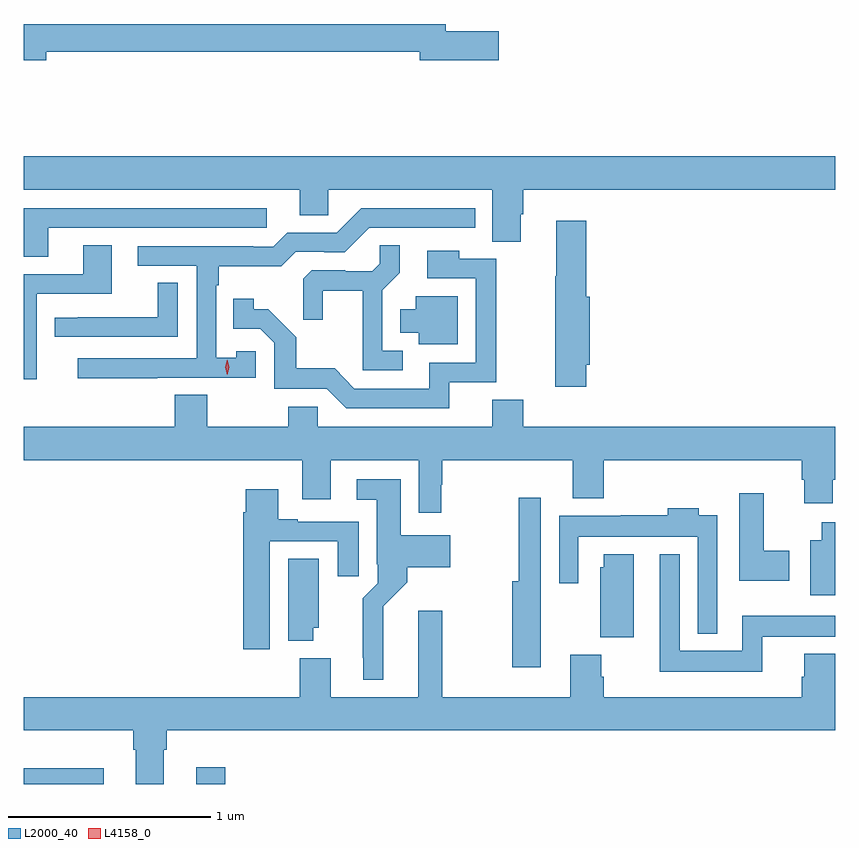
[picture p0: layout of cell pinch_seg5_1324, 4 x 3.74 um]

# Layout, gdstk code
import gdstk
lib = gdstk.Library(unit=1e-6, precision=1e-09)
def R(c, l, rs):  # rectangles x0, y0, x1, y1
    for r in rs: c.add(gdstk.rectangle(r[:2], r[2:], *l))
def P(c, l, *ps):  # polygons
    for p in ps: c.add(gdstk.Polygon(p, *l))
L2000_40 = (2000, 40)
L4158_0 = (4158, 0)

pinch_seg5_1324 = lib.new_cell('pinch_seg5_1324')
R(pinch_seg5_1324, L2000_40, [(290.597,892.46,290.992,892.538), (291.449,892.46,291.592,892.543)])
P(pinch_seg5_1324, L2000_40, [(290.71,896.068),(292.55,896.068),(292.55,896.026),(292.939,896.026),(292.939,896.168),(292.678,896.168),(292.678,896.204),(290.597,896.204),(290.597,896.026),(290.71,896.026)],
  [(293.047,895.266),(293.06,895.266),(293.06,895.388),(294.597,895.388),(294.597,895.552),(290.597,895.552),(290.597,895.388),(291.959,895.388),(291.959,895.261),(292.098,895.261),(292.098,895.388),(292.907,895.388),(292.907,895.132),(293.047,895.132)],
  [(290.719,895.2),(291.796,895.2),(291.796,895.296),(290.597,895.296),(290.597,895.057),(290.719,895.057)],
  [(291.257,894.462),(291.741,894.462),(291.741,894.591),(291.645,894.591),(291.645,894.559),(291.546,894.559),(291.546,894.917),(291.559,894.917),(291.559,895.01),(291.866,895.01),(291.939,895.083),(292.078,895.083),(292.078,895.08),(292.179,895.08),(292.299,895.2),(292.822,895.2),(292.822,895.296),(292.26,895.296),(292.14,895.176),(291.897,895.176),(291.828,895.107),(291.728,895.107),(291.728,895.11),(291.159,895.11),(291.159,895.014),(291.45,895.014),(291.45,894.558),(290.865,894.558),(290.865,894.46),(291.257,894.46)],
  [(293.369,894.525),(293.387,894.525),(293.387,894.861),(293.369,894.861),(293.369,895.234),(293.222,895.234),(293.222,894.961),(293.216,894.961),(293.216,894.416),(293.369,894.416)],
  [(292.465,894.594),(292.365,894.594),(292.365,894.893),(292.451,894.979),(292.451,895.115),(292.353,895.115),(292.353,895.024),(292.316,894.987),(292.182,894.987),(292.182,894.99),(292.017,894.99),(291.976,894.949),(291.976,894.747),(292.07,894.747),(292.07,894.89),(292.268,894.89),(292.268,894.498),(292.465,894.498)],
  [(290.661,894.876),(291.031,894.876),(291.031,895.115),(290.891,895.115),(290.891,894.972),(290.597,894.972),(290.597,894.453),(290.661,894.453)],
  [(292.694,894.438),(292.925,894.438),(292.925,895.047),(292.743,895.047),(292.743,895.087),(292.587,895.087),(292.587,894.951),(292.824,894.951),(292.824,894.534),(292.595,894.534),(292.595,894.408),(292.227,894.408),(292.129,894.507),(291.94,894.507),(291.94,894.662),(291.802,894.8),(291.732,894.8),(291.732,894.85),(291.631,894.85),(291.631,894.702),(291.762,894.702),(291.831,894.633),(291.831,894.408),(292.092,894.408),(292.188,894.312),(292.694,894.312)],
  [(291.357,894.929),(291.259,894.929),(291.259,894.759),(290.863,894.759),(290.863,894.758),(290.751,894.758),(290.751,894.663),(291.357,894.663)],
  [(292.735,894.862),(292.529,894.862),(292.529,894.799),(292.454,894.799),(292.454,894.683),(292.544,894.683),(292.544,894.626),(292.735,894.626)],
  [(292.047,894.318),(291.901,894.318),(291.901,894.22),(291.501,894.22),(291.501,894.377),(291.341,894.377),(291.341,894.22),(290.597,894.22),(290.597,894.056),(291.971,894.056),(291.971,893.862),(292.111,893.862),(292.111,894.056),(292.545,894.056),(292.545,893.796),(292.654,893.796),(292.654,893.934),(292.661,893.934),(292.661,894.056),(293.303,894.056),(293.303,893.867),(293.456,893.867),(293.456,894.056),(294.431,894.056),(294.431,893.958),(294.443,893.958),(294.443,893.844),(294.583,893.844),(294.583,893.958),(294.596,893.958),(294.596,894.056),(294.597,894.056),(294.597,894.22),(293.06,894.22),(293.06,894.353),(292.907,894.353),(292.907,894.22),(292.047,894.22)],
  [(292.369,893.336),(292.487,893.454),(292.487,893.528),(292.699,893.528),(292.699,893.686),(292.456,893.686),(292.456,893.962),(292.239,893.962),(292.239,893.861),(292.337,893.861),(292.337,893.542),(292.341,893.542),(292.341,893.448),(292.267,893.374),(292.267,893.083),(292.271,893.083),(292.271,892.973),(292.369,892.973)],
  [(291.811,893.655),(292.145,893.655),(292.145,893.484),(292.249,893.484),(292.249,893.751),(291.949,893.751),(291.949,893.764),(291.853,893.764),(291.853,893.911),(291.692,893.911),(291.692,893.798),(291.68,893.798),(291.68,893.124),(291.811,893.124)],
  [(294.37,893.61),(294.244,893.61),(294.244,893.893),(294.122,893.893),(294.122,893.462),(294.37,893.462)],
  [(293.146,893.354),(293.145,893.354),(293.145,893.869),(293.037,893.869),(293.037,893.458),(293.005,893.458),(293.005,893.034),(293.146,893.034)],
  [(294.015,893.785),(293.923,893.785),(293.923,893.818),(293.771,893.818),(293.771,893.785),(293.539,893.785),(293.539,893.782),(293.235,893.782),(293.235,893.448),(293.331,893.448),(293.331,893.678),(293.919,893.678),(293.919,893.201),(294.015,893.201)],
  [(294.597,893.749),(294.53,893.749),(294.53,893.662),(294.473,893.662),(294.473,893.39),(294.597,893.39)],
  [(294.236,893.186),(294.597,893.186),(294.597,893.29),(294.138,893.29),(294.138,893.116),(293.829,893.116),(293.829,893.593),(293.732,893.593),(293.732,893.012),(294.236,893.012)],
  [(293.602,893.593),(293.456,893.593),(293.456,893.529),(293.438,893.529),(293.438,893.182),(293.602,893.182)],
  [(292.024,893.229),(292.051,893.229),(292.051,893.57),(291.902,893.57),(291.902,893.165),(292.024,893.165)],
  [(294.597,892.888),(294.596,892.888),(294.596,893.101),(294.443,893.101),(294.443,892.989),(294.431,892.989),(294.431,892.888),(293.456,892.888),(293.456,892.988),(293.443,892.988),(293.443,893.097),(293.291,893.097),(293.291,892.888),(292.659,892.888),(292.659,893.314),(292.541,893.314),(292.541,892.888),(292.111,892.888),(292.111,893.08),(291.959,893.08),(291.959,892.888),(290.597,892.888),(290.597,892.724),(291.137,892.724),(291.137,892.628),(291.149,892.628),(291.149,892.46),(291.289,892.46),(291.289,892.628),(291.302,892.628),(291.302,892.724),(294.597,892.724)])
P(pinch_seg5_1324, L4158_0, [(291.6,894.477),(291.6,894.477),(291.59,894.513),(291.6,894.549),(291.6,894.55),(291.6,894.549),(291.61,894.513),(291.6,894.477)])

lib.write_gds('pinch_seg5_1324.gds')
